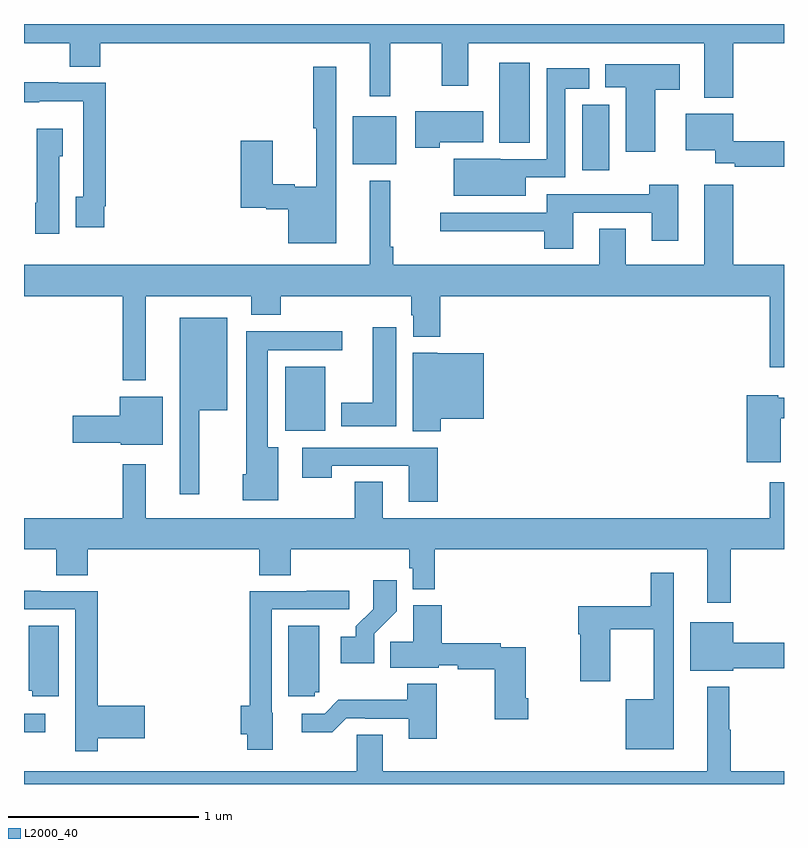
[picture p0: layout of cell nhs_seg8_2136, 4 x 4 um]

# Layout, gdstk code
import gdstk
lib = gdstk.Library(unit=1e-6, precision=1e-09)
def R(c, l, rs):  # rectangles x0, y0, x1, y1
    for r in rs: c.add(gdstk.rectangle(r[:2], r[2:], *l))
def P(c, l, *ps):  # polygons
    for p in ps: c.add(gdstk.Polygon(p, *l))
L2000_40 = (2000, 40)

nhs_seg8_2136 = lib.new_cell('nhs_seg8_2136')
R(nhs_seg8_2136, L2000_40, [(245,1146.173,245.113,1146.27), (246.374,1147.76,246.586,1148.095), (247.937,1149.129,248.08,1149.475), (246.731,1149.161,246.958,1149.415), (247.502,1149.275,247.663,1149.697)])
P(nhs_seg8_2136, L2000_40, [(248.732,1149.8),(249,1149.8),(249,1149.9),(245,1149.9),(245,1149.8),(245.242,1149.8),(245.242,1149.676),(245.402,1149.676),(245.402,1149.8),(246.821,1149.8),(246.821,1149.519),(246.928,1149.519),(246.928,1149.8),(247.199,1149.8),(247.199,1149.576),(247.339,1149.576),(247.339,1149.8),(248.579,1149.8),(248.579,1149.512),(248.732,1149.512)],
  [(248.323,1149.554),(248.452,1149.554),(248.452,1149.688),(248.06,1149.688),(248.06,1149.566),(248.168,1149.566),(248.168,1149.228),(248.323,1149.228)],
  [(246.643,1149.676),(246.522,1149.676),(246.522,1149.351),(246.539,1149.351),(246.539,1149.043),(246.425,1149.043),(246.425,1149.056),(246.31,1149.056),(246.31,1149.286),(246.14,1149.286),(246.14,1148.933),(246.276,1148.933),(246.276,1148.926),(246.392,1148.926),(246.392,1148.747),(246.643,1148.747)],
  [(247.642,1149.093),(247.848,1149.093),(247.848,1149.56),(247.975,1149.56),(247.975,1149.667),(247.752,1149.667),(247.752,1149.189),(247.506,1149.189),(247.506,1149.19),(247.262,1149.19),(247.262,1148.996),(247.642,1148.996)],
  [(245.422,1148.941),(245.429,1148.941),(245.429,1149.591),(245.179,1149.591),(245.179,1149.593),(245,1149.593),(245,1149.488),(245.079,1149.488),(245.079,1149.494),(245.313,1149.494),(245.313,1148.99),(245.273,1148.99),(245.273,1148.829),(245.422,1148.829)],
  [(247.188,1149.278),(247.417,1149.278),(247.417,1149.442),(247.058,1149.442),(247.058,1149.248),(247.188,1149.248)],
  [(249,1149.284),(248.733,1149.284),(248.733,1149.427),(248.483,1149.427),(248.483,1149.236),(248.637,1149.236),(248.637,1149.168),(248.74,1149.168),(248.74,1149.148),(249,1149.148)],
  [(245.185,1149.204),(245.203,1149.204),(245.203,1149.349),(245.066,1149.349),(245.066,1148.958),(245.06,1148.958),(245.06,1148.796),(245.185,1148.796)],
  [(245.641,1148.468),(246.197,1148.468),(246.197,1148.369),(246.35,1148.369),(246.35,1148.468),(247.037,1148.468),(247.037,1148.367),(247.049,1148.367),(247.049,1148.255),(247.19,1148.255),(247.19,1148.468),(248.924,1148.468),(248.924,1148.094),(249,1148.094),(249,1148.632),(248.732,1148.632),(248.732,1149.055),(248.579,1149.055),(248.579,1148.632),(248.167,1148.632),(248.167,1148.822),(248.027,1148.822),(248.027,1148.632),(246.943,1148.632),(246.943,1148.728),(246.928,1148.728),(246.928,1149.076),(246.821,1149.076),(246.821,1148.632),(245,1148.632),(245,1148.468),(245.52,1148.468),(245.52,1148.024),(245.641,1148.024)],
  [(247.891,1148.907),(248.303,1148.907),(248.303,1148.76),(248.443,1148.76),(248.443,1149.055),(248.291,1149.055),(248.291,1149.003),(247.751,1149.003),(247.751,1148.907),(247.191,1148.907),(247.191,1148.81),(247.739,1148.81),(247.739,1148.718),(247.891,1148.718)],
  [(245.923,1147.868),(246.07,1147.868),(246.07,1148.353),(245.819,1148.353),(245.819,1147.425),(245.923,1147.425)],
  [(246.958,1148.305),(246.836,1148.305),(246.836,1147.906),(246.671,1147.906),(246.671,1147.784),(246.958,1147.784)],
  [(246.337,1147.672),(246.283,1147.672),(246.283,1148.184),(246.676,1148.184),(246.676,1148.282),(246.17,1148.282),(246.17,1147.53),(246.152,1147.53),(246.152,1147.394),(246.337,1147.394)],
  [(247.193,1147.823),(247.42,1147.823),(247.42,1148.167),(247.176,1148.167),(247.176,1148.17),(247.046,1148.17),(247.046,1147.756),(247.193,1147.756)],
  [(248.982,1147.824),(249,1147.824),(249,1147.933),(248.97,1147.933),(248.97,1147.945),(248.804,1147.945),(248.804,1147.593),(248.982,1147.593)],
  [(245.731,1147.939),(245.504,1147.939),(245.504,1147.838),(245.256,1147.838),(245.256,1147.696),(245.508,1147.696),(245.508,1147.685),(245.731,1147.685)],
  [(247.178,1147.671),(246.465,1147.671),(246.465,1147.512),(246.621,1147.512),(246.621,1147.575),(247.025,1147.575),(247.025,1147.386),(247.178,1147.386)],
  [(248.719,1147.136),(249,1147.136),(249,1147.489),(248.924,1147.489),(248.924,1147.3),(246.889,1147.3),(246.889,1147.49),(246.742,1147.49),(246.742,1147.3),(245.641,1147.3),(245.641,1147.582),(245.52,1147.582),(245.52,1147.3),(245,1147.3),(245,1147.136),(245.171,1147.136),(245.171,1147),(245.336,1147),(245.336,1147.136),(246.239,1147.136),(246.239,1147),(246.404,1147),(246.404,1147.136),(247.027,1147.136),(247.027,1147.035),(247.047,1147.035),(247.047,1146.926),(247.163,1146.926),(247.163,1147.136),(248.597,1147.136),(248.597,1146.855),(248.719,1146.855)],
  [(248.419,1147.012),(248.298,1147.012),(248.298,1146.835),(247.916,1146.835),(247.916,1146.689),(247.928,1146.689),(247.928,1146.441),(248.086,1146.441),(248.086,1146.714),(248.315,1146.714),(248.315,1146.346),(248.168,1146.346),(248.168,1146.083),(248.419,1146.083)],
  [(246.843,1146.691),(246.962,1146.81),(246.962,1146.973),(246.837,1146.973),(246.837,1146.821),(246.746,1146.731),(246.746,1146.676),(246.666,1146.676),(246.666,1146.536),(246.843,1146.536)],
  [(245.387,1146.14),(245.635,1146.14),(245.635,1146.311),(245.387,1146.311),(245.387,1146.915),(245.087,1146.915),(245.087,1146.918),(245,1146.918),(245,1146.819),(245.271,1146.819),(245.271,1146.294),(245.27,1146.294),(245.27,1146.072),(245.387,1146.072)],
  [(246.31,1146.276),(246.303,1146.276),(246.303,1146.819),(246.712,1146.819),(246.712,1146.918),(246.487,1146.918),(246.487,1146.915),(246.187,1146.915),(246.187,1146.311),(246.14,1146.311),(246.14,1146.162),(246.174,1146.162),(246.174,1146.08),(246.31,1146.08)],
  [(247.655,1146.352),(247.642,1146.352),(247.642,1146.621),(247.508,1146.621),(247.508,1146.641),(247.199,1146.641),(247.199,1146.841),(247.049,1146.841),(247.049,1146.65),(246.928,1146.65),(246.928,1146.512),(247.182,1146.512),(247.182,1146.525),(247.282,1146.525),(247.282,1146.505),(247.477,1146.505),(247.477,1146.24),(247.655,1146.24)],
  [(248.734,1146.508),(249,1146.508),(249,1146.644),(248.734,1146.644),(248.734,1146.751),(248.507,1146.751),(248.507,1146.497),(248.734,1146.497)],
  [(245.182,1146.734),(245.024,1146.734),(245.024,1146.39),(245.043,1146.39),(245.043,1146.363),(245.182,1146.363)],
  [(246.531,1146.384),(246.553,1146.384),(246.553,1146.733),(246.392,1146.733),(246.392,1146.363),(246.531,1146.363)],
  [(247.173,1146.427),(247.018,1146.427),(247.018,1146.343),(246.655,1146.343),(246.582,1146.27),(246.462,1146.27),(246.462,1146.173),(246.623,1146.173),(246.696,1146.246),(246.796,1146.246),(246.796,1146.243),(247.025,1146.243),(247.025,1146.138),(247.173,1146.138)],
  [(245,1145.9),(249,1145.9),(249,1145.968),(248.719,1145.968),(248.719,1146.185),(248.711,1146.185),(248.711,1146.412),(248.597,1146.412),(248.597,1145.968),(246.889,1145.968),(246.889,1146.158),(246.75,1146.158),(246.75,1145.968),(245,1145.968)])

lib.write_gds('nhs_seg8_2136.gds')
